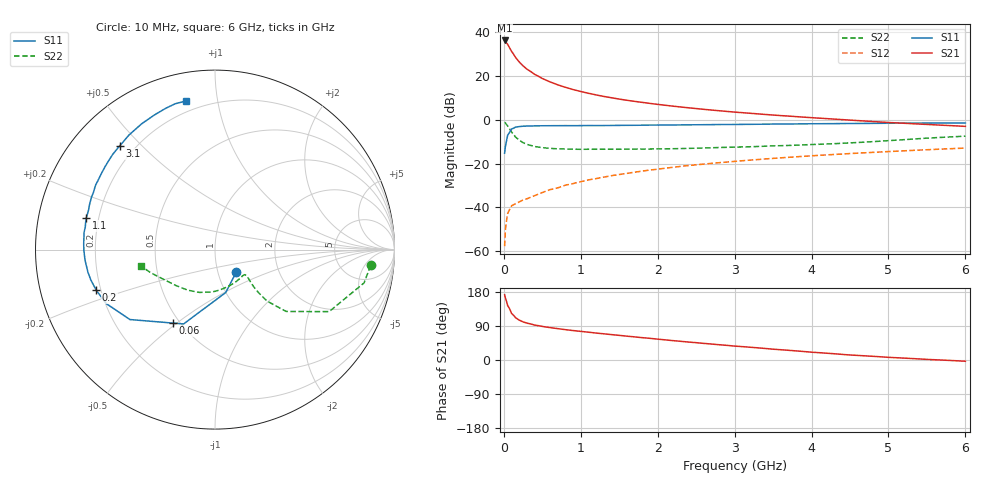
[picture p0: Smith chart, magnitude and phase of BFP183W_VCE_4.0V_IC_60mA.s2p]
! Infineon Technologies  Discrete & RF Semiconductors
! BFP183W
! VCE =  4.0 V,  IC =  60 mA
! Common Emitter S-Parameters:  Jan 2017
# GHz  S  MA  R  50
!  f  S11  S21  S12  S22
! GHz  MAG  ANG  MAG  ANG  MAG  ANG  MAG  ANG
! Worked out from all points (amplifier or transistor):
!   77 points, 10 MHz to 6 GHz, reference 50 ohm
!   highest |S21| = 36.2 dB at 10 MHz (marker M1)
!   |S21| within 3 dB of that: start of sweep to 69.29 MHz
!   unconditionally stable (mu >= 1): start of sweep to 12.69 MHz; 382.9 MHz to 3.899 GHz
!   at 130 MHz: K = 0.53, MSG = 34.2 dB, |S12| = -38.7 dB
!   at 2.2 GHz: K = 1.15, MAG = 11.6 dB, |S12| = -21.7 dB
!   at 6 GHz: K = 0.91, MSG = 5.0 dB, |S12| = -12.9 dB
!   S11 on the Smith chart (normalised r, x): 10 MHz: 1.22, -0.32; 60 MHz: 0.46, -0.48; 200 MHz: 0.18, -0.16; 1.1 GHz: 0.15, +0.12; 3.1 GHz: 0.14, +0.43; 6 GHz: 0.14, +0.82
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0.01  0.1729 -47.0  64.78 172.3  0.0013 85.4  0.8719 -5.8
0.02  0.2462 -75.9  62.95 163.6  0.003 82.2  0.851 -12.6
0.04  0.3687 -105.2  55.28 150.9  0.0057 63.1  0.7595 -22.6
0.05  0.4498 -112.9  52.67 143.4  0.0072 59.2  0.7241 -28.5
0.06  0.472 -119.8  49.07 140.4  0.0079 57.8  0.6822 -30.4
0.1  0.6138 -140.6  36.66 122.8  0.0108 53.9  0.5254 -41.0
0.15  0.6764 -153.6  26.91 112.1  0.0121 48.4  0.4072 -44.7
0.2  0.6994 -161.1  20.91 105.2  0.0133 49.2  0.3415 -44.7
0.25  0.7126 -166.5  17.06 100.6  0.0148 50.9  0.3006 -43.9
0.3  0.7192 -170.0  14.35 97.3  0.0157 51.5  0.2743 -42.7
0.4  0.7264 -175.3  10.92 92.2  0.0185 57.8  0.2452 -40.7
0.5  0.7302 -179.3  8.764 88.6  0.0218 59.6  0.2311 -39.9
0.6  0.7322 177.6  7.336 85.5  0.0254 62.3  0.2223 -39.8
0.7  0.7333 174.9  6.292 82.8  0.0278 65.3  0.2172 -40.0
0.9  0.7336 170.2  4.899 77.7  0.0349 68.3  0.2131 -42.6
1.1  0.7388 166.2  4.03 73.4  0.0424 68.8  0.2125 -45.7
1.5  0.7447 158.7  2.967 65.0  0.0563 69.2  0.2125 -53.8
2.1  0.7589 147.9  2.144 53.1  0.0784 67.7  0.2172 -69.5
3.1  0.7846 132.6  1.453 35.3  0.116 62.4  0.2396 -98.9
4.1  0.813 119.0  1.09 19.3  0.1543 55.5  0.2758 -126.8
5.1  0.8346 108.7  0.85 6.0  0.1917 48.1  0.3423 -152.8
6  0.8437 100.9  0.707 -3.3  0.2261 40.8  0.4231 -167.5
